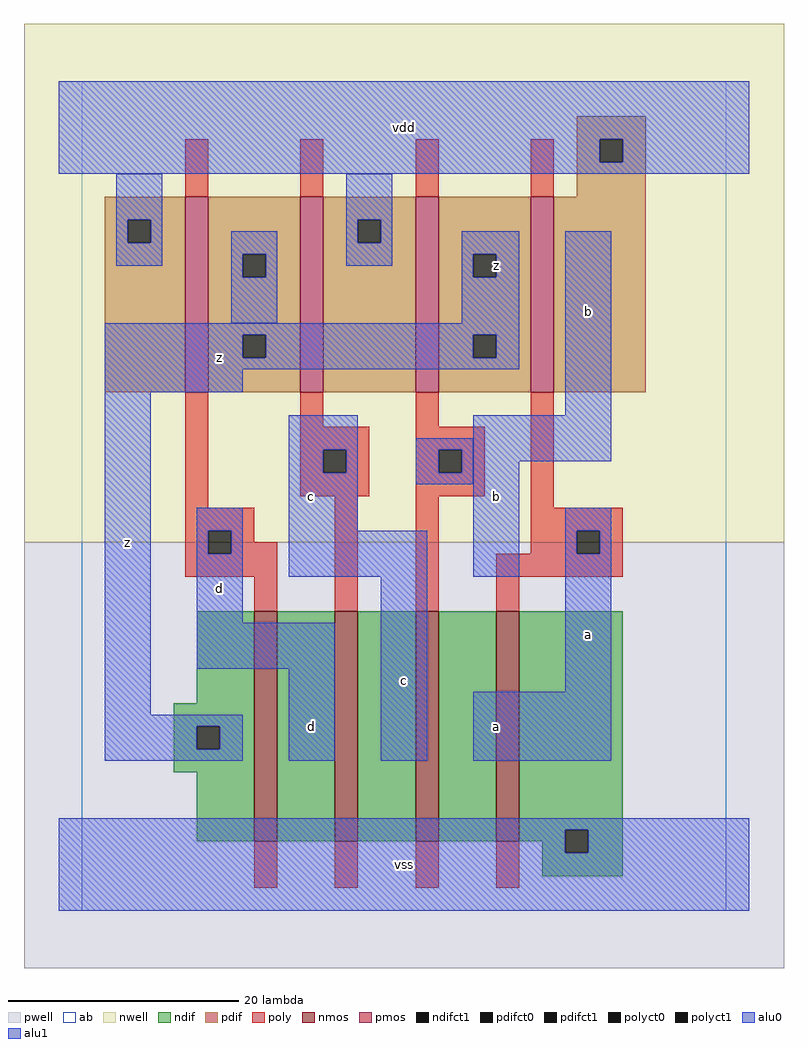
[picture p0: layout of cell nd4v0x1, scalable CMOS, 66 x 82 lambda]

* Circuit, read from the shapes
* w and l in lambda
.subckt nd4v0x1 a b c d vdd vss z
M1 n1 d z VSUBS nfet w=20 l=2
M2 n2 c n1 VSUBS nfet w=20 l=2
M3 n3 b n2 VSUBS nfet w=20 l=2
M4 vss a n3 VSUBS nfet w=20 l=2
M5 z d vdd n4 pfet w=17 l=2
M6 vdd c z n4 pfet w=17 l=2
M7 z b vdd n4 pfet w=17 l=2
M8 vdd a z n4 pfet w=17 l=2
.ends

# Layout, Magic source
magic
tech scmos
<< ab >>
rect 0 0 56 72
<< nwell >>
rect -5 32 61 77
<< pwell >>
rect -5 -5 61 32
<< poly >>
rect 9 62 11 67
rect 19 62 21 67
rect 29 62 31 67
rect 39 62 41 67
rect 9 35 11 45
rect 19 42 21 45
rect 29 42 31 45
rect 19 40 25 42
rect 19 38 21 40
rect 23 38 25 40
rect 19 36 25 38
rect 29 40 35 42
rect 29 38 31 40
rect 33 38 35 40
rect 29 36 35 38
rect 9 33 15 35
rect 9 31 11 33
rect 13 32 15 33
rect 13 31 17 32
rect 9 29 17 31
rect 15 26 17 29
rect 22 26 24 36
rect 29 26 31 36
rect 39 35 41 45
rect 39 33 47 35
rect 39 31 43 33
rect 45 31 47 33
rect 36 29 47 31
rect 36 26 38 29
rect 15 2 17 6
rect 22 2 24 6
rect 29 2 31 6
rect 36 2 38 6
<< ndif >>
rect 10 18 15 26
rect 8 16 15 18
rect 8 14 10 16
rect 12 14 15 16
rect 8 12 15 14
rect 10 6 15 12
rect 17 6 22 26
rect 24 6 29 26
rect 31 6 36 26
rect 38 7 47 26
rect 38 6 42 7
rect 40 5 42 6
rect 44 5 47 7
rect 40 3 47 5
<< pdif >>
rect 43 67 49 69
rect 43 65 45 67
rect 47 65 49 67
rect 43 62 49 65
rect 2 60 9 62
rect 2 58 4 60
rect 6 58 9 60
rect 2 45 9 58
rect 11 57 19 62
rect 11 55 14 57
rect 16 55 19 57
rect 11 50 19 55
rect 11 48 14 50
rect 16 48 19 50
rect 11 45 19 48
rect 21 60 29 62
rect 21 58 24 60
rect 26 58 29 60
rect 21 45 29 58
rect 31 57 39 62
rect 31 55 34 57
rect 36 55 39 57
rect 31 50 39 55
rect 31 48 34 50
rect 36 48 39 50
rect 31 45 39 48
rect 41 45 49 62
<< alu1 >>
rect -2 67 58 72
rect -2 65 45 67
rect 47 65 58 67
rect -2 64 58 65
rect 33 57 38 59
rect 33 55 34 57
rect 36 55 38 57
rect 33 51 38 55
rect 2 50 38 51
rect 2 48 14 50
rect 16 48 34 50
rect 36 48 38 50
rect 2 47 38 48
rect 2 45 14 47
rect 2 17 6 45
rect 42 43 46 59
rect 18 40 24 43
rect 18 38 21 40
rect 23 38 24 40
rect 10 33 14 35
rect 10 31 11 33
rect 13 31 14 33
rect 10 25 14 31
rect 18 33 24 38
rect 34 39 46 43
rect 18 29 30 33
rect 34 29 38 39
rect 42 33 46 35
rect 42 31 43 33
rect 45 31 46 33
rect 10 21 22 25
rect 2 16 14 17
rect 2 14 10 16
rect 12 14 14 16
rect 2 13 14 14
rect 18 13 22 21
rect 26 13 30 29
rect 42 19 46 31
rect 34 13 46 19
rect -2 7 58 8
rect -2 5 42 7
rect 44 5 58 7
rect -2 0 58 5
<< nmos >>
rect 15 6 17 26
rect 22 6 24 26
rect 29 6 31 26
rect 36 6 38 26
<< pmos >>
rect 9 45 11 62
rect 19 45 21 62
rect 29 45 31 62
rect 39 45 41 62
<< polyct0 >>
rect 31 38 33 40
<< polyct1 >>
rect 21 38 23 40
rect 11 31 13 33
rect 43 31 45 33
<< ndifct1 >>
rect 10 14 12 16
rect 42 5 44 7
<< pdifct0 >>
rect 4 58 6 60
rect 14 55 16 57
rect 24 58 26 60
<< pdifct1 >>
rect 45 65 47 67
rect 14 48 16 50
rect 34 55 36 57
rect 34 48 36 50
<< alu0 >>
rect 3 60 7 64
rect 3 58 4 60
rect 6 58 7 60
rect 23 60 27 64
rect 3 56 7 58
rect 13 57 17 59
rect 13 55 14 57
rect 16 55 17 57
rect 23 58 24 60
rect 26 58 27 60
rect 23 56 27 58
rect 13 51 17 55
rect 29 40 34 41
rect 29 38 31 40
rect 33 38 34 40
rect 29 37 34 38
<< labels >>
rlabel alu1 4 32 4 32 6 z
rlabel alu1 20 16 20 16 6 d
rlabel alu1 12 28 12 28 6 d
rlabel alu1 20 36 20 36 6 c
rlabel alu1 12 48 12 48 6 z
rlabel alu1 28 4 28 4 6 vss
rlabel alu1 36 16 36 16 6 a
rlabel alu1 28 20 28 20 6 c
rlabel alu1 36 36 36 36 6 b
rlabel alu1 36 56 36 56 6 z
rlabel alu1 28 68 28 68 6 vdd
rlabel alu1 44 24 44 24 6 a
rlabel alu1 44 52 44 52 6 b
<< end >>
